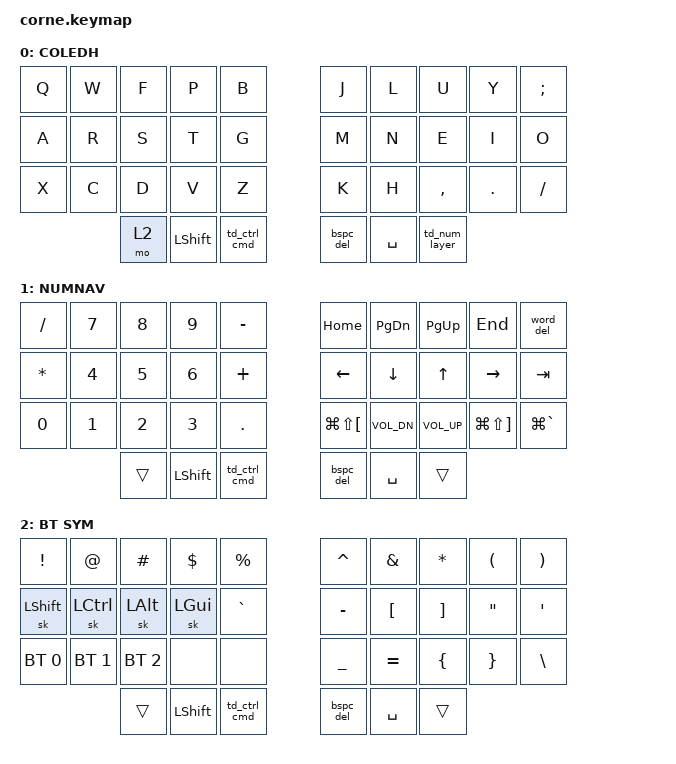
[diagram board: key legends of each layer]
/*
 * Copyright (c) 2020 The ZMK Contributors
 *
 * SPDX-License-Identifier: MIT
 */

#include <behaviors.dtsi>
#include <dt-bindings/zmk/keys.h>
#include <dt-bindings/zmk/bt.h>

&sk {
        release-after-ms = <3000>;
        ignore-modifiers;
};

/ {
        chosen {
                zmk,matrix-transform = &five_column_transform;
        };

        behaviors {
                td_ctrl_cmd: td_ctrl_cmd {
                        compatible = "zmk,behavior-tap-dance";
                        #binding-cells = <0>;
                        tapping-term-ms = <300>;
                        bindings = <&kp LCTRL>, <&kp LGUI>;
                };
                word_del: word_del {
                        compatible = "zmk,behavior-macro";
                        #binding-cells = <0>;
                        wait-ms = <10>;
                        tap-ms = <10>;
                        bindings = <&kp LA(LS(LEFT))>, <&kp BSPC>;
                };
                bspc_del: bspc_del {
                        compatible = "zmk,behavior-mod-morph";
                        #binding-cells = <0>;
                        bindings = <&kp BSPC>, <&kp DEL>;
                        mods = <(MOD_LSFT|MOD_RSFT)>;
                };
                cmd_layer: cmd_layer {
                        compatible = "zmk,behavior-macro";
                        #binding-cells = <0>;
                        bindings = <&macro_press &mo 1 &kp LGUI>
                                 , <&macro_pause_for_release>
                                 , <&macro_release &mo 1 &kp LGUI>;
                };
                td_num_layer: td_num_layer {
                        compatible = "zmk,behavior-tap-dance";
                        #binding-cells = <0>;
                        tapping-term-ms = <300>;
                        bindings = <&mo 1>, <&cmd_layer>;
                };
        };

        combos {
                compatible = "zmk,combos";
                combo_enter {
                        timeout-ms = <50>;
                        key-positions = <16 17 18>; // N E I
                        bindings = <&kp RET>;
                };
                combo_esc {
                        timeout-ms = <50>;
                        key-positions = <11 12 13>; // R S T
                        bindings = <&kp ESC>;
                };
                combo_bt_clr {
                        timeout-ms = <50>;
                        key-positions = <20 21 22>; // BT0 + BT1 + BT2
                        layers = <2>; // Sym layer only
                        bindings = <&bt BT_CLR>;
                };
        };

        keymap {
                compatible = "zmk,keymap";

                default_layer {
                        display-name = "COLEDH";
// -----------------------------------------------------------------------------------------
// |  Q  |  W  |  F  |  P  |  B  |   |  J  |  L   |  U  |  Y  |  ;  |
// |  A  |  R  |  S  |  T  |  G  |   |  M  |  N   |  E  |  I  |  O  |
// |  X  |  C  |  D  |  V  |  Z  |   |  K  |  H   |  ,  |  .  |  /  |
//             | SYM | SFT | CTL |   | BSPC| SPC  | NUM |
                        bindings = <
   &kp Q &kp W &kp F &kp P &kp B   &kp J &kp L  &kp U     &kp Y   &kp SEMI
   &kp A &kp R &kp S &kp T &kp G   &kp M &kp N  &kp E     &kp I   &kp O
   &kp X &kp C &kp D &kp V &kp Z   &kp K &kp H  &kp COMMA &kp DOT &kp FSLH
              &mo 2 &kp LSHFT &td_ctrl_cmd   &bspc_del &kp SPACE &td_num_layer
                        >;
                };

                lower_layer {
                        display-name = "NUMNAV";
// -----------------------------------------------------------------------------------------
// |  /  |  7  |  8  |  9  |  -  |   | HME | PGD | PGU | END | WDL |
// |  *  |  4  |  5  |  6  |  +  |   | LFT | DWN |  UP | RGT | TAB |
// |  0  |  1  |  2  |  3  |  .  |   | PTB | VLD | VLU | NTB | NWN |
//             |     | SFT | CTL |   | BSPC| SPC |     |
                        bindings = <
   &kp FSLH  &kp N7 &kp N8 &kp N9 &kp MINUS   &kp HOME &kp PG_DN &kp PG_UP &kp END   &word_del
   &kp ASTRK &kp N4 &kp N5 &kp N6 &kp PLUS    &kp LEFT &kp DOWN  &kp UP    &kp RIGHT &kp TAB
   &kp N0    &kp N1 &kp N2 &kp N3 &kp DOT     &kp LG(LS(LBKT)) &kp C_VOL_DN &kp C_VOL_UP &kp LG(LS(RBKT)) &kp LG(GRAVE)
                            &trans &kp LSHFT &td_ctrl_cmd  &bspc_del &kp SPACE &trans
                        >;
                };

                raise_layer {
                        display-name = "BT SYM";
// -----------------------------------------------------------------------------------------
// |  !  |  @  |  #  |  $  |  %  |   |  ^  |  &  |  *  |  (  |  )  |
// | SFT | CTL | ALT | CMD |  `  |   |  -  |  [  |  ]  |  "  |  '  |
// | BT0 | BT1 | BT2 |     |     |   |  _  |  =  |  {  |  }  |  \  |
//             |     | SFT | CTL |   | BSPC| SPC |     |
                        bindings = <
   &kp EXCL     &kp AT       &kp HASH     &kp DLLR     &kp PRCNT        &kp CARET &kp AMPS  &kp ASTRK &kp LPAR &kp RPAR
   &sk LSHFT    &sk LCTRL    &sk LALT     &sk LGUI     &kp GRAVE        &kp MINUS &kp LBKT  &kp RBKT  &kp DQT  &kp SQT
   &bt BT_SEL 0 &bt BT_SEL 1 &bt BT_SEL 2 &none        &none            &kp UNDER &kp EQUAL &kp LBRC  &kp RBRC &kp BSLH
                             &trans       &kp LSHFT    &td_ctrl_cmd     &bspc_del &kp SPACE &trans
                        >;
                };
        };
};
